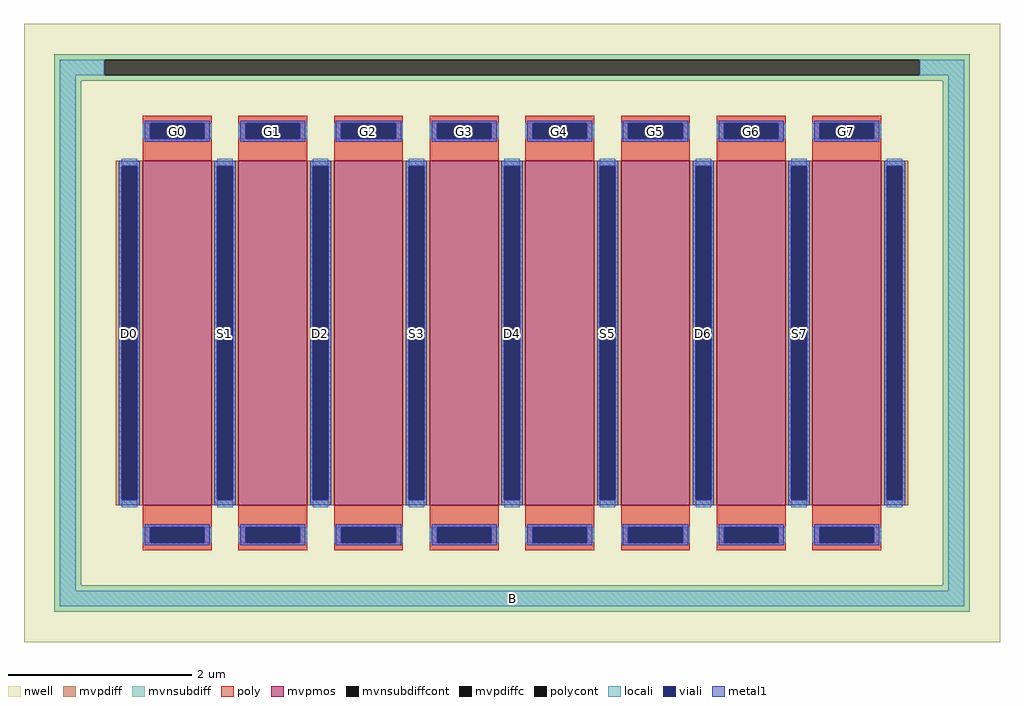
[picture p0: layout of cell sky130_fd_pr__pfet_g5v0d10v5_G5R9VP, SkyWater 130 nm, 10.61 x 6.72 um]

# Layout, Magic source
magic
tech sky130A
magscale 1 2
<< nwell >>
rect -1061 -672 1061 672
<< mvpmos >>
rect -803 -375 -653 375
rect -595 -375 -445 375
rect -387 -375 -237 375
rect -179 -375 -29 375
rect 29 -375 179 375
rect 237 -375 387 375
rect 445 -375 595 375
rect 653 -375 803 375
<< mvpdiff >>
rect -861 363 -803 375
rect -861 -363 -849 363
rect -815 -363 -803 363
rect -861 -375 -803 -363
rect -653 363 -595 375
rect -653 -363 -641 363
rect -607 -363 -595 363
rect -653 -375 -595 -363
rect -445 363 -387 375
rect -445 -363 -433 363
rect -399 -363 -387 363
rect -445 -375 -387 -363
rect -237 363 -179 375
rect -237 -363 -225 363
rect -191 -363 -179 363
rect -237 -375 -179 -363
rect -29 363 29 375
rect -29 -363 -17 363
rect 17 -363 29 363
rect -29 -375 29 -363
rect 179 363 237 375
rect 179 -363 191 363
rect 225 -363 237 363
rect 179 -375 237 -363
rect 387 363 445 375
rect 387 -363 399 363
rect 433 -363 445 363
rect 387 -375 445 -363
rect 595 363 653 375
rect 595 -363 607 363
rect 641 -363 653 363
rect 595 -375 653 -363
rect 803 363 861 375
rect 803 -363 815 363
rect 849 -363 861 363
rect 803 -375 861 -363
<< mvpdiffc >>
rect -849 -363 -815 363
rect -641 -363 -607 363
rect -433 -363 -399 363
rect -225 -363 -191 363
rect -17 -363 17 363
rect 191 -363 225 363
rect 399 -363 433 363
rect 607 -363 641 363
rect 815 -363 849 363
<< mvnsubdiff >>
rect -995 594 995 606
rect -995 560 -887 594
rect 887 560 995 594
rect -995 548 995 560
rect -995 -548 -937 548
rect 937 -548 995 548
rect -995 -606 995 -548
<< mvnsubdiffcont >>
rect -887 560 887 594
<< poly >>
rect -803 456 -653 472
rect -803 422 -787 456
rect -669 422 -653 456
rect -803 375 -653 422
rect -595 456 -445 472
rect -595 422 -579 456
rect -461 422 -445 456
rect -595 375 -445 422
rect -387 456 -237 472
rect -387 422 -371 456
rect -253 422 -237 456
rect -387 375 -237 422
rect -179 456 -29 472
rect -179 422 -163 456
rect -45 422 -29 456
rect -179 375 -29 422
rect 29 456 179 472
rect 29 422 45 456
rect 163 422 179 456
rect 29 375 179 422
rect 237 456 387 472
rect 237 422 253 456
rect 371 422 387 456
rect 237 375 387 422
rect 445 456 595 472
rect 445 422 461 456
rect 579 422 595 456
rect 445 375 595 422
rect 653 456 803 472
rect 653 422 669 456
rect 787 422 803 456
rect 653 375 803 422
rect -803 -422 -653 -375
rect -803 -456 -787 -422
rect -669 -456 -653 -422
rect -803 -472 -653 -456
rect -595 -422 -445 -375
rect -595 -456 -579 -422
rect -461 -456 -445 -422
rect -595 -472 -445 -456
rect -387 -422 -237 -375
rect -387 -456 -371 -422
rect -253 -456 -237 -422
rect -387 -472 -237 -456
rect -179 -422 -29 -375
rect -179 -456 -163 -422
rect -45 -456 -29 -422
rect -179 -472 -29 -456
rect 29 -422 179 -375
rect 29 -456 45 -422
rect 163 -456 179 -422
rect 29 -472 179 -456
rect 237 -422 387 -375
rect 237 -456 253 -422
rect 371 -456 387 -422
rect 237 -472 387 -456
rect 445 -422 595 -375
rect 445 -456 461 -422
rect 579 -456 595 -422
rect 445 -472 595 -456
rect 653 -422 803 -375
rect 653 -456 669 -422
rect 787 -456 803 -422
rect 653 -472 803 -456
<< polycont >>
rect -787 422 -669 456
rect -579 422 -461 456
rect -371 422 -253 456
rect -163 422 -45 456
rect 45 422 163 456
rect 253 422 371 456
rect 461 422 579 456
rect 669 422 787 456
rect -787 -456 -669 -422
rect -579 -456 -461 -422
rect -371 -456 -253 -422
rect -163 -456 -45 -422
rect 45 -456 163 -422
rect 253 -456 371 -422
rect 461 -456 579 -422
rect 669 -456 787 -422
<< locali >>
rect -983 560 -887 594
rect 887 560 983 594
rect -983 -560 -949 560
rect -803 422 -787 456
rect -669 422 -653 456
rect -595 422 -579 456
rect -461 422 -445 456
rect -387 422 -371 456
rect -253 422 -237 456
rect -179 422 -163 456
rect -45 422 -29 456
rect 29 422 45 456
rect 163 422 179 456
rect 237 422 253 456
rect 371 422 387 456
rect 445 422 461 456
rect 579 422 595 456
rect 653 422 669 456
rect 787 422 803 456
rect -849 363 -815 379
rect -849 -379 -815 -363
rect -641 363 -607 379
rect -641 -379 -607 -363
rect -433 363 -399 379
rect -433 -379 -399 -363
rect -225 363 -191 379
rect -225 -379 -191 -363
rect -17 363 17 379
rect -17 -379 17 -363
rect 191 363 225 379
rect 191 -379 225 -363
rect 399 363 433 379
rect 399 -379 433 -363
rect 607 363 641 379
rect 607 -379 641 -363
rect 815 363 849 379
rect 815 -379 849 -363
rect -803 -456 -787 -422
rect -669 -456 -653 -422
rect -595 -456 -579 -422
rect -461 -456 -445 -422
rect -387 -456 -371 -422
rect -253 -456 -237 -422
rect -179 -456 -163 -422
rect -45 -456 -29 -422
rect 29 -456 45 -422
rect 163 -456 179 -422
rect 237 -456 253 -422
rect 371 -456 387 -422
rect 445 -456 461 -422
rect 579 -456 595 -422
rect 653 -456 669 -422
rect 787 -456 803 -422
rect 949 -560 983 560
rect -983 -594 983 -560
<< viali >>
rect -787 422 -669 456
rect -579 422 -461 456
rect -371 422 -253 456
rect -163 422 -45 456
rect 45 422 163 456
rect 253 422 371 456
rect 461 422 579 456
rect 669 422 787 456
rect -849 -363 -815 363
rect -641 -363 -607 363
rect -433 -363 -399 363
rect -225 -363 -191 363
rect -17 -363 17 363
rect 191 -363 225 363
rect 399 -363 433 363
rect 607 -363 641 363
rect 815 -363 849 363
rect -787 -456 -669 -422
rect -579 -456 -461 -422
rect -371 -456 -253 -422
rect -163 -456 -45 -422
rect 45 -456 163 -422
rect 253 -456 371 -422
rect 461 -456 579 -422
rect 669 -456 787 -422
<< metal1 >>
rect -799 456 -657 462
rect -799 422 -787 456
rect -669 422 -657 456
rect -799 416 -657 422
rect -591 456 -449 462
rect -591 422 -579 456
rect -461 422 -449 456
rect -591 416 -449 422
rect -383 456 -241 462
rect -383 422 -371 456
rect -253 422 -241 456
rect -383 416 -241 422
rect -175 456 -33 462
rect -175 422 -163 456
rect -45 422 -33 456
rect -175 416 -33 422
rect 33 456 175 462
rect 33 422 45 456
rect 163 422 175 456
rect 33 416 175 422
rect 241 456 383 462
rect 241 422 253 456
rect 371 422 383 456
rect 241 416 383 422
rect 449 456 591 462
rect 449 422 461 456
rect 579 422 591 456
rect 449 416 591 422
rect 657 456 799 462
rect 657 422 669 456
rect 787 422 799 456
rect 657 416 799 422
rect -855 363 -809 375
rect -855 -363 -849 363
rect -815 -363 -809 363
rect -855 -375 -809 -363
rect -647 363 -601 375
rect -647 -363 -641 363
rect -607 -363 -601 363
rect -647 -375 -601 -363
rect -439 363 -393 375
rect -439 -363 -433 363
rect -399 -363 -393 363
rect -439 -375 -393 -363
rect -231 363 -185 375
rect -231 -363 -225 363
rect -191 -363 -185 363
rect -231 -375 -185 -363
rect -23 363 23 375
rect -23 -363 -17 363
rect 17 -363 23 363
rect -23 -375 23 -363
rect 185 363 231 375
rect 185 -363 191 363
rect 225 -363 231 363
rect 185 -375 231 -363
rect 393 363 439 375
rect 393 -363 399 363
rect 433 -363 439 363
rect 393 -375 439 -363
rect 601 363 647 375
rect 601 -363 607 363
rect 641 -363 647 363
rect 601 -375 647 -363
rect 809 363 855 375
rect 809 -363 815 363
rect 849 -363 855 363
rect 809 -375 855 -363
rect -799 -422 -657 -416
rect -799 -456 -787 -422
rect -669 -456 -657 -422
rect -799 -462 -657 -456
rect -591 -422 -449 -416
rect -591 -456 -579 -422
rect -461 -456 -449 -422
rect -591 -462 -449 -456
rect -383 -422 -241 -416
rect -383 -456 -371 -422
rect -253 -456 -241 -422
rect -383 -462 -241 -456
rect -175 -422 -33 -416
rect -175 -456 -163 -422
rect -45 -456 -33 -422
rect -175 -462 -33 -456
rect 33 -422 175 -416
rect 33 -456 45 -422
rect 163 -456 175 -422
rect 33 -462 175 -456
rect 241 -422 383 -416
rect 241 -456 253 -422
rect 371 -456 383 -422
rect 241 -462 383 -456
rect 449 -422 591 -416
rect 449 -456 461 -422
rect 579 -456 591 -422
rect 449 -462 591 -456
rect 657 -422 799 -416
rect 657 -456 669 -422
rect 787 -456 799 -422
rect 657 -462 799 -456
<< labels >>
rlabel mvnsubdiff 0 -577 0 -577 0 B
port 1 nsew
rlabel mvpdiffc -832 0 -832 0 0 D0
port 2 nsew
rlabel polycont -728 439 -728 439 0 G0
port 3 nsew
rlabel mvpdiffc -624 0 -624 0 0 S1
port 4 nsew
rlabel polycont -520 439 -520 439 0 G1
port 5 nsew
rlabel mvpdiffc -416 0 -416 0 0 D2
port 6 nsew
rlabel polycont -312 439 -312 439 0 G2
port 7 nsew
rlabel mvpdiffc -208 0 -208 0 0 S3
port 8 nsew
rlabel polycont -104 439 -104 439 0 G3
port 9 nsew
rlabel mvpdiffc 0 0 0 0 0 D4
port 10 nsew
rlabel polycont 104 439 104 439 0 G4
port 11 nsew
rlabel mvpdiffc 208 0 208 0 0 S5
port 12 nsew
rlabel polycont 312 439 312 439 0 G5
port 13 nsew
rlabel mvpdiffc 416 0 416 0 0 D6
port 14 nsew
rlabel polycont 520 439 520 439 0 G6
port 15 nsew
rlabel mvpdiffc 624 0 624 0 0 S7
port 16 nsew
rlabel polycont 728 439 728 439 0 G7
port 17 nsew
<< properties >>
string FIXED_BBOX -966 -577 966 577
string gencell sky130_fd_pr__pfet_g5v0d10v5
string library sky130
string parameters w 3.75 l 0.75 m 1 nf 8 diffcov 100 polycov 100 guard 1 glc 0 grc 0 gtc 1 gbc 0 tbcov 100 rlcov 100 topc 1 botc 1 poverlap 0 doverlap 1 lmin 0.50 wmin 0.42 class mosfet compatible {sky130_fd_pr__pfet_01v8  sky130_fd_pr__pfet_01v8_lvt sky130_fd_pr__pfet_01v8_hvt  sky130_fd_pr__pfet_g5v0d10v5} full_metal 1 conn_gates 0 viasrc 100 viadrn 100 viagate 100 viagb 0 viagr 0 viagl 0 viagt 0 doports 1
<< end >>
